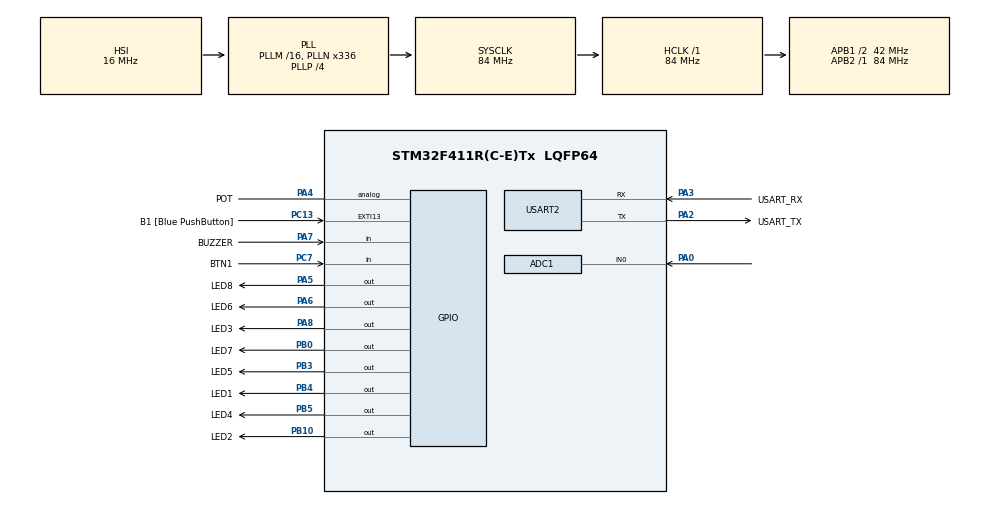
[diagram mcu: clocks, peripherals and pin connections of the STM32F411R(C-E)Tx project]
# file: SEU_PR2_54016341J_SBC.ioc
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ADC1.Channel-0\#ChannelRegularConversion=ADC_CHANNEL_0
ADC1.NbrOfConversionFlag=1
ADC1.Rank-0\#ChannelRegularConversion=1
ADC1.SamplingTime-0\#ChannelRegularConversion=ADC_SAMPLETIME_3CYCLES
ADC1.master=1
Mcu.Family=STM32F4
Mcu.Name=STM32F411R(C-E)Tx
Mcu.Package=LQFP64
NVIC.PriorityGroup=NVIC_PRIORITYGROUP_0
PA0-WKUP.Signal=ADCx_IN0
PA13.GPIO_Label=TMS
PA13.Mode=Serial_Wire
PA13.Signal=SYS_JTMS-SWDIO
PA14.GPIO_Label=TCK
PA14.Mode=Serial_Wire
PA14.Signal=SYS_JTCK-SWCLK
PA2.GPIO_Label=USART_TX
PA2.Mode=Asynchronous
PA2.Signal=USART2_TX
PA3.GPIO_Label=USART_RX
PA3.Mode=Asynchronous
PA3.Signal=USART2_RX
PA4.GPIO_Label=POT
PA4.Signal=GPIO_Analog
PA5.GPIO_Label=LED8
PA5.Signal=GPIO_Output
PA6.GPIO_Label=LED6
PA6.Signal=GPIO_Output
PA7.GPIO_Label=BUZZER
PA7.Signal=GPIO_Input
PA8.GPIO_Label=LED3
PA8.Signal=GPIO_Output
PB0.GPIO_Label=LED7
PB0.Signal=GPIO_Output
PB10.GPIO_Label=LED2
PB10.Signal=GPIO_Output
PB3.GPIO_Label=LED5
PB3.Signal=GPIO_Output
PB4.GPIO_Label=LED1
PB4.Signal=GPIO_Output
PB5.GPIO_Label=LED4
PB5.Signal=GPIO_Output
PC13-ANTI_TAMP.GPIO_Label=B1 [Blue PushButton]
PC13-ANTI_TAMP.GPIO_ModeDefaultEXTI=GPIO_MODE_IT_FALLING
PC13-ANTI_TAMP.Signal=GPXTI13
PC14-OSC32_IN.Mode=LSE-External-Oscillator
PC14-OSC32_IN.Signal=RCC_OSC32_IN
PC15-OSC32_OUT.Mode=LSE-External-Oscillator
PC15-OSC32_OUT.Signal=RCC_OSC32_OUT
PC7.GPIO_Label=BTN1
PC7.GPIO_PuPd=GPIO_PULLUP
PC7.Signal=GPIO_Input
PH0\ -\ OSC_IN.Mode=HSE-External-Clock-Source
PH0\ -\ OSC_IN.Signal=RCC_OSC_IN
PH1\ -\ OSC_OUT.Mode=HSE-External-Clock-Source
PH1\ -\ OSC_OUT.Signal=RCC_OSC_OUT
ProjectManager.HeapSize=0x200
ProjectManager.StackSize=0x400
ProjectManager.TargetToolchain=STM32CubeIDE
RCC.48MHZClocksFreq_Value=84000000
RCC.AHBFreq_Value=84000000
RCC.APB1CLKDivider=RCC_HCLK_DIV2
RCC.APB1Freq_Value=42000000
RCC.APB1TimFreq_Value=84000000
RCC.APB2Freq_Value=84000000
RCC.APB2TimFreq_Value=84000000
RCC.CortexFreq_Value=84000000
RCC.FLatency-AdvancedSettings=FLASH_LATENCY_2
RCC.HCLKFreq_Value=84000000
RCC.HSE_VALUE=8000000
RCC.HSI_VALUE=16000000
RCC.PLLN=336
RCC.PLLP=RCC_PLLP_DIV4
RCC.SYSCLKFreq_VALUE=84000000
RCC.SYSCLKSource=RCC_SYSCLKSOURCE_PLLCLK
RCC.VCOOutputFreq_Value=336000000
SH.ADCx_IN0.0=ADC1_IN0,IN0
USART2.VirtualMode=VM_ASYNC
board=NUCLEO-F411RE

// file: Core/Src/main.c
/* USER CODE BEGIN Header */
/**
 ******************************************************************************
 * @file           : main.c
 * @brief          : Main program body
 ******************************************************************************
 * @attention
 *
 * Copyright (c) 2023 STMicroelectronics.
 * All rights reserved.
 *
 * This software is licensed under terms that can be found in the LICENSE file
 * in the root directory of this software component.
 * If no LICENSE file comes with this software, it is provided AS-IS.
 *
 ******************************************************************************
 */
/* USER CODE END Header */
#include "main.h"

/* USER CODE BEGIN Includes */
#include <stdio.h>
#include "HW.h"
/* USER CODE END Includes */

ADC_HandleTypeDef hadc1;

UART_HandleTypeDef huart2;

void SystemClock_Config(void);
static void MX_GPIO_Init(void);
static void MX_USART2_UART_Init(void);
static void MX_ADC1_Init(void);

/* USER CODE BEGIN 0 */
int _write(int file, char *ptr, int len) {
	int DataIdx;
	for (DataIdx = 0; DataIdx < len; DataIdx++) {
		HAL_UART_Transmit(&huart2, (uint8_t*) ptr++, 1, 1000);
	}
	return len;
}
/* USER CODE END 0 */

int main(void) {

	/* MCU Configuration--------------------------------------------------------*/

	/* Reset of all peripherals, Initializes the Flash interface and the Systick. */
	HAL_Init();

	/* Configure the system clock */
	SystemClock_Config();

	/* Initialize all configured peripherals */
	MX_GPIO_Init();
	MX_USART2_UART_Init();
	MX_ADC1_Init();
	/* USER CODE BEGIN 2 */
	printf("PRJ: %s, Date: %s\r\n", "mi proyecto", __TIME__);
	/* USER CODE END 2 */

	/* Infinite loop */
	/* USER CODE BEGIN WHILE */
	int ct = 0;
	while (1) {
		uint32_t valueTemp = ConvertidorA_D(0);
		printf("%4d \r\n", valueTemp);
		{int c;for (c = 0; c < 1000000; c++);}
		//ejercicio3
		//ct=(ct+1)%0x100;
		//put_leds(valueAD);

		//printf("%4d \r\n", valueAD);
		/*
		//potenciometro
		float value = valueAD * 3.3 / 4095.0;

		if (value <= (3.3/8)) {
			put_leds(1);
		} else if (value <= (3.3*2/8)) {
			put_leds(3);
		} else if (value <= (3.3*3/8)) {
			put_leds(7);
		} else if (value <= (3.3*4/8)) {
			put_leds(15);
		} else if (value <= (3.3*5/8)) {
			put_leds(63);
		} else if (value <= (3.3*6/8)) {
			put_leds(127);
		} else 	if (value <= (3.3*7/8)) {
			put_leds(255);
		}*/

		//luz
		uint32_t valueAD = ConvertidorA_D(0);
		float value = 4096-valueAD;

		if (value <= 410) {
			put_leds(1);
		} else if (value <= 820) {
			put_leds(3);
		} else if (value <= 1230) {
			put_leds(7);
		} else if (value <= 1640) {
			put_leds(15);
		} else if (value <= 2050) {
			put_leds(63);
		} else if (value <= 2460) {
			put_leds(127);
		} else 	if (value <= 2870) {
			put_leds(255);
		}

		//printf("%f \r\n %f \r\n", value, (3.3/8));
		//pot_leds(valuev);
		//printf("%f \r\n", p);

		//HAL_GPIO_WritePin(GPIOA, BUZZER_Pin, GPIO_PIN_RESET);

		/* USER CODE END WHILE */

	}
}

void SystemClock_Config(void) {
	RCC_OscInitTypeDef RCC_OscInitStruct = { 0 };
	RCC_ClkInitTypeDef RCC_ClkInitStruct = { 0 };

	/** Configure the main internal regulator output voltage
	 */
	__HAL_RCC_PWR_CLK_ENABLE();
	__HAL_PWR_VOLTAGESCALING_CONFIG(PWR_REGULATOR_VOLTAGE_SCALE1);
	/** Initializes the RCC Oscillators according to the specified parameters
	 * in the RCC_OscInitTypeDef structure.
	 */
	RCC_OscInitStruct.OscillatorType = RCC_OSCILLATORTYPE_HSI;
	RCC_OscInitStruct.HSIState = RCC_HSI_ON;
	RCC_OscInitStruct.HSICalibrationValue = RCC_HSICALIBRATION_DEFAULT;
	RCC_OscInitStruct.PLL.PLLState = RCC_PLL_ON;
	RCC_OscInitStruct.PLL.PLLSource = RCC_PLLSOURCE_HSI;
	RCC_OscInitStruct.PLL.PLLM = 16;
	RCC_OscInitStruct.PLL.PLLN = 336;
	RCC_OscInitStruct.PLL.PLLP = RCC_PLLP_DIV4;
	RCC_OscInitStruct.PLL.PLLQ = 4;
	if (HAL_RCC_OscConfig(&RCC_OscInitStruct) != HAL_OK) {
		Error_Handler();
	}
	/** Initializes the CPU, AHB and APB buses clocks
	 */
	RCC_ClkInitStruct.ClockType = RCC_CLOCKTYPE_HCLK | RCC_CLOCKTYPE_SYSCLK
			| RCC_CLOCKTYPE_PCLK1 | RCC_CLOCKTYPE_PCLK2;
	RCC_ClkInitStruct.SYSCLKSource = RCC_SYSCLKSOURCE_PLLCLK;
	RCC_ClkInitStruct.AHBCLKDivider = RCC_SYSCLK_DIV1;
	RCC_ClkInitStruct.APB1CLKDivider = RCC_HCLK_DIV2;
	RCC_ClkInitStruct.APB2CLKDivider = RCC_HCLK_DIV1;

	if (HAL_RCC_ClockConfig(&RCC_ClkInitStruct, FLASH_LATENCY_2) != HAL_OK) {
		Error_Handler();
	}
}

static void MX_ADC1_Init(void) {

	ADC_ChannelConfTypeDef sConfig = { 0 };

	/** Configure the global features of the ADC (Clock, Resolution, Data Alignment and number of conversion)
	 */
	hadc1.Instance = ADC1;
	hadc1.Init.ClockPrescaler = ADC_CLOCK_SYNC_PCLK_DIV4;
	hadc1.Init.Resolution = ADC_RESOLUTION_12B;
	hadc1.Init.ScanConvMode = DISABLE;
	hadc1.Init.ContinuousConvMode = DISABLE;
	hadc1.Init.DiscontinuousConvMode = DISABLE;
	hadc1.Init.ExternalTrigConvEdge = ADC_EXTERNALTRIGCONVEDGE_NONE;
	hadc1.Init.ExternalTrigConv = ADC_SOFTWARE_START;
	hadc1.Init.DataAlign = ADC_DATAALIGN_RIGHT;
	hadc1.Init.NbrOfConversion = 1;
	hadc1.Init.DMAContinuousRequests = DISABLE;
	hadc1.Init.EOCSelection = ADC_EOC_SINGLE_CONV;
	if (HAL_ADC_Init(&hadc1) != HAL_OK) {
		Error_Handler();
	}
	/** Configure for the selected ADC regular channel its corresponding rank in the sequencer and its sample time.
	 */
	sConfig.Channel = ADC_CHANNEL_0;
	sConfig.Rank = 1;
	sConfig.SamplingTime = ADC_SAMPLETIME_3CYCLES;
	if (HAL_ADC_ConfigChannel(&hadc1, &sConfig) != HAL_OK) {
		Error_Handler();
	}

}

static void MX_USART2_UART_Init(void) {

	huart2.Instance = USART2;
	huart2.Init.BaudRate = 115200;
	huart2.Init.WordLength = UART_WORDLENGTH_8B;
	huart2.Init.StopBits = UART_STOPBITS_1;
	huart2.Init.Parity = UART_PARITY_NONE;
	huart2.Init.Mode = UART_MODE_TX_RX;
	huart2.Init.HwFlowCtl = UART_HWCONTROL_NONE;
	huart2.Init.OverSampling = UART_OVERSAMPLING_16;
	if (HAL_UART_Init(&huart2) != HAL_OK) {
		Error_Handler();
	}

}

static void MX_GPIO_Init(void) {
	GPIO_InitTypeDef GPIO_InitStruct = { 0 };

	/* GPIO Ports Clock Enable */
	__HAL_RCC_GPIOC_CLK_ENABLE();
	__HAL_RCC_GPIOH_CLK_ENABLE();
	__HAL_RCC_GPIOA_CLK_ENABLE();
	__HAL_RCC_GPIOB_CLK_ENABLE();

	/*Configure GPIO pin Output Level */
	HAL_GPIO_WritePin(GPIOA, LED8_Pin | LED6_Pin | LED3_Pin, GPIO_PIN_RESET);

	/*Configure GPIO pin Output Level */
	HAL_GPIO_WritePin(GPIOB,
			LED7_Pin | LED2_Pin | LED5_Pin | LED1_Pin | LED4_Pin,
			GPIO_PIN_RESET);

	/*Configure GPIO pin : B1_Pin */
	GPIO_InitStruct.Pin = B1_Pin;
	GPIO_InitStruct.Mode = GPIO_MODE_IT_FALLING;
	GPIO_InitStruct.Pull = GPIO_NOPULL;
	HAL_GPIO_Init(B1_GPIO_Port, &GPIO_InitStruct);

	/*Configure GPIO pin : POT_Pin */
	GPIO_InitStruct.Pin = POT_Pin;
	GPIO_InitStruct.Mode = GPIO_MODE_ANALOG;
	GPIO_InitStruct.Pull = GPIO_NOPULL;
	HAL_GPIO_Init(POT_GPIO_Port, &GPIO_InitStruct);

	/*Configure GPIO pins : LED8_Pin LED6_Pin LED3_Pin */
	GPIO_InitStruct.Pin = LED8_Pin | LED6_Pin | LED3_Pin;
	GPIO_InitStruct.Mode = GPIO_MODE_OUTPUT_PP;
	GPIO_InitStruct.Pull = GPIO_NOPULL;
	GPIO_InitStruct.Speed = GPIO_SPEED_FREQ_LOW;
	HAL_GPIO_Init(GPIOA, &GPIO_InitStruct);

	/*Configure GPIO pin : BUZZER_Pin */
	GPIO_InitStruct.Pin = BUZZER_Pin;
	GPIO_InitStruct.Mode = GPIO_MODE_INPUT;
	GPIO_InitStruct.Pull = GPIO_NOPULL;
	HAL_GPIO_Init(BUZZER_GPIO_Port, &GPIO_InitStruct);

	/*Configure GPIO pins : LED7_Pin LED2_Pin LED5_Pin LED1_Pin
	 LED4_Pin */
	GPIO_InitStruct.Pin = LED7_Pin | LED2_Pin | LED5_Pin | LED1_Pin | LED4_Pin;
	GPIO_InitStruct.Mode = GPIO_MODE_OUTPUT_PP;
	GPIO_InitStruct.Pull = GPIO_NOPULL;
	GPIO_InitStruct.Speed = GPIO_SPEED_FREQ_LOW;
	HAL_GPIO_Init(GPIOB, &GPIO_InitStruct);

	/*Configure GPIO pin : BTN1_Pin */
	GPIO_InitStruct.Pin = BTN1_Pin;
	GPIO_InitStruct.Mode = GPIO_MODE_INPUT;
	GPIO_InitStruct.Pull = GPIO_PULLUP;
	HAL_GPIO_Init(BTN1_GPIO_Port, &GPIO_InitStruct);

}

void Error_Handler(void) {
	__disable_irq();
	while (1) {
	}
}
